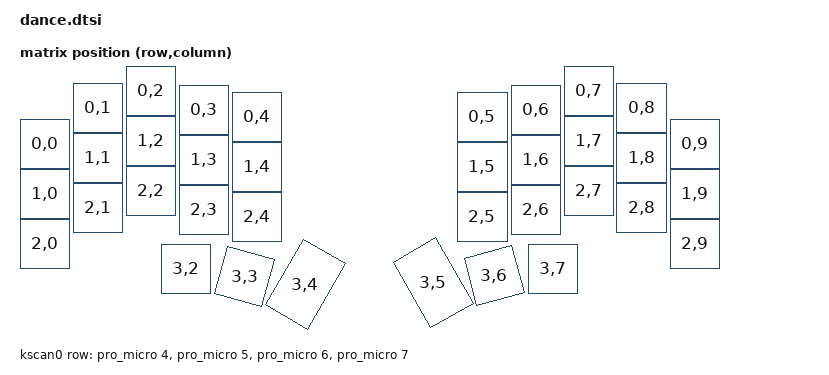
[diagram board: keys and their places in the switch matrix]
/*
 * Copyright (c) 2020 Pete Johanson
 *
 * SPDX-License-Identifier: MIT
 */

#include <dt-bindings/zmk/matrix_transform.h>

/ {
    chosen {
        zephyr,display = &oled;
        zmk,kscan = &kscan0;
        zmk,matrix_transform = &default_transform;

        zmk,physical-layout = &layout;
    };

    default_transform: keymap_transform_0 {
        compatible = "zmk,matrix-transform";
        columns = <10>;
        rows = <4>;
// | SW1  | SW2  | SW3  | SW4  | SW5  |   | SW5  | SW4  | SW3  | SW2  | SW1  |
// | SW6  | SW7  | SW8  | SW9  | SW10 |   | SW10 | SW9  | SW8  | SW7  | SW6  |
// | SW11 | SW12 | SW13 | SW14 | SW15 |   | SW15 | SW14 | SW13 | SW12 | SW11 |
//               | SW16 | SW17 | SW18 |   | SW18 | SW17 | SW16 |
        map = <
RC(0,0) RC(0,1) RC(0,2) RC(0,3) RC(0,4)  RC(0,5) RC(0,6) RC(0,7) RC(0,8) RC(0,9)
RC(1,0) RC(1,1) RC(1,2) RC(1,3) RC(1,4)  RC(1,5) RC(1,6) RC(1,7) RC(1,8) RC(1,9)
RC(2,0) RC(2,1) RC(2,2) RC(2,3) RC(2,4)  RC(2,5) RC(2,6) RC(2,7) RC(2,8) RC(2,9)
                RC(3,2) RC(3,3) RC(3,4)  RC(3,5) RC(3,6) RC(3,7)
        >;
    };

    kscan0: kscan {
        compatible = "zmk,kscan-gpio-matrix";
        label = "KSCAN";
        wakeup-source;

        diode-direction = "col2row";
        row-gpios
            = <&pro_micro 4 (GPIO_ACTIVE_HIGH | GPIO_PULL_DOWN)>
            , <&pro_micro 5 (GPIO_ACTIVE_HIGH | GPIO_PULL_DOWN)>
            , <&pro_micro 6 (GPIO_ACTIVE_HIGH | GPIO_PULL_DOWN)>
            , <&pro_micro 7 (GPIO_ACTIVE_HIGH | GPIO_PULL_DOWN)>
            ;
    };

    layout: layout {
        keys = <&key_physical_attrs 106 106 0 106 0 0 0 >
        , <&key_physical_attrs 106 106 106 35 0 0 0 >
        , <&key_physical_attrs 106 106 212 0 0 0 0 >
        , <&key_physical_attrs 106 106 318 39 0 0 0 >
        , <&key_physical_attrs 106 106 424 53 0 0 0 >
        , <&key_physical_attrs 106 106 876 53 0 0 0 >
        , <&key_physical_attrs 106 106 982 39 0 0 0 >
        , <&key_physical_attrs 106 106 1088 0 0 0 0 >
        , <&key_physical_attrs 106 106 1194 35 0 0 0 >
        , <&key_physical_attrs 106 106 1300 106 0 0 0 >
        , <&key_physical_attrs 106 106 0 206 0 0 0 >
        , <&key_physical_attrs 106 106 106 135 0 0 0 >
        , <&key_physical_attrs 106 106 212 100 0 0 0 >
        , <&key_physical_attrs 106 106 318 139 0 0 0 >
        , <&key_physical_attrs 106 106 424 153 0 0 0 >
        , <&key_physical_attrs 106 106 876 153 0 0 0 >
        , <&key_physical_attrs 106 106 982 139 0 0 0 >
        , <&key_physical_attrs 106 106 1088 100 0 0 0 >
        , <&key_physical_attrs 106 106 1194 135 0 0 0 >
        , <&key_physical_attrs 106 106 1300 206 0 0 0 >
        , <&key_physical_attrs 106 106 0 306 0 0 0 >
        , <&key_physical_attrs 106 106 106 235 0 0 0 >
        , <&key_physical_attrs 106 106 212 200 0 0 0 >
        , <&key_physical_attrs 106 106 318 239 0 0 0 >
        , <&key_physical_attrs 106 106 424 253 0 0 0 >
        , <&key_physical_attrs 106 106 876 253 0 0 0 >
        , <&key_physical_attrs 106 106 982 239 0 0 0 >
        , <&key_physical_attrs 106 106 1088 200 0 0 0 >
        , <&key_physical_attrs 106 106 1194 235 0 0 0 >
        , <&key_physical_attrs 106 106 1300 306 0 0 0 >
        , <&key_physical_attrs 106 106 283 356 0 0 0 >
        , <&key_physical_attrs 106 106 401 372 1500 454 422 >
        , <&key_physical_attrs 106 159 522 361 3000 575 440 >
        , <&key_physical_attrs 106 159 778 361 (-3000) 825 440 >
        , <&key_physical_attrs 106 106 899 372 (-1500) 946 422 >
        , <&key_physical_attrs 106 106 1017 356 0 0 0 >;
    };

    // TODO: per-key RGB node(s)?
};

&pro_micro_i2c {
    status = "okay";

    oled: ssd1306@3c {
        compatible = "solomon,ssd1306fb";
        reg = <0x3c>;
        label = "DISPLAY";
        width = <128>;
        height = <32>;
        segment-offset = <0>;
        page-offset = <0>;
        display-offset = <0>;
        multiplex-ratio = <31>;
        segment-remap;
        com-invdir;
        com-sequential;
        prechargep = <0x22>;
    };
};
